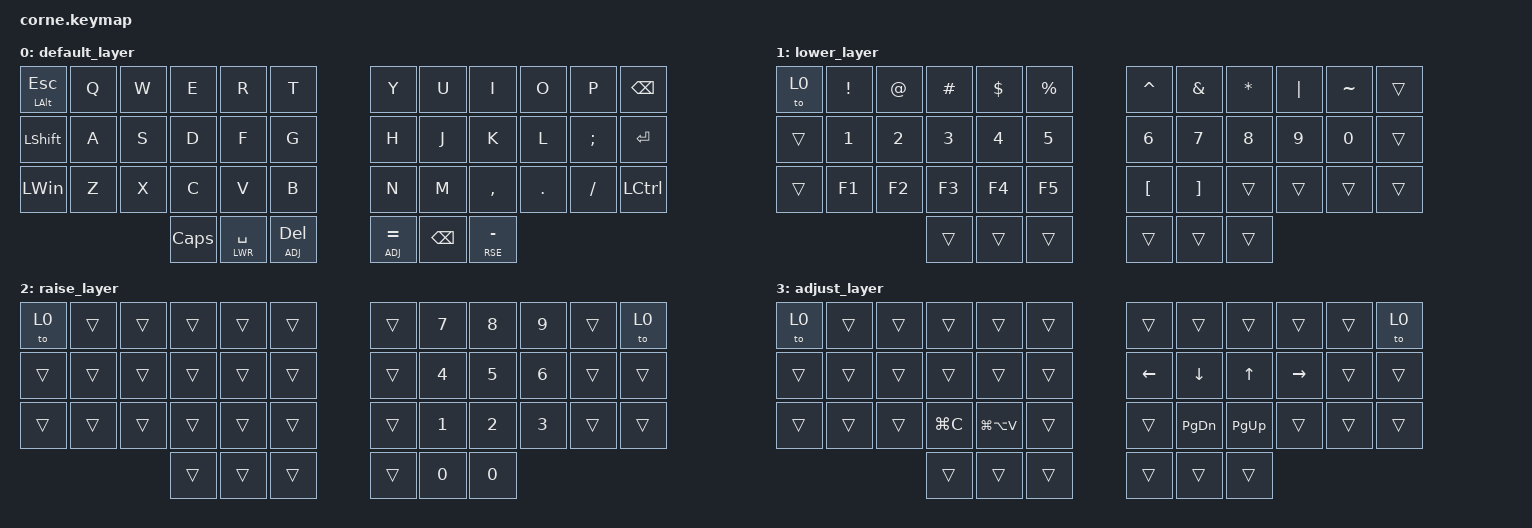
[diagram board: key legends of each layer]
/*
 * Copyright (c) 2020 The ZMK Contributors
 *
 * SPDX-License-Identifier: MIT
 */

#include <behaviors.dtsi>
#include <dt-bindings/zmk/keys.h>
#include <dt-bindings/zmk/bt.h>

#define DEF 0
#define LWR 1
#define RSE 2
#define ADJ 3


/ {
       macros {        
		ZMK_MACRO(macro_arrow,
			wait-ms = <30>;
			tap-ms = <40>;
			bindings = <&kp LPAR &kp RPAR &kp KP_EQUAL &kp GT>;
    			)

       };
    
	combos {
		compatible = "zmk,combos";	
		combo_btsel0 {
		    timeout-ms = <50>;
		    key-positions = <1 13 25>;
		    bindings = <&bt BT_SEL 0>;
		};
		combo_btsel1 {
		    timeout-ms = <50>;
		    key-positions = <2 14 26>;
		    bindings = <&bt BT_SEL 1>;
		};
		combo_btsel2 {
		    timeout-ms = <50>;
		    key-positions = <3 15 27>;
		    bindings = <&bt BT_SEL 2>;
		};
		combo_btclr {
		    timeout-ms = <50>;
		    key-positions = <5 17 29>;
		    bindings = <&bt BT_CLR>;
		};
		combo_adj {
		    timeout-ms = <50>;
		    key-positions = <10 22 34>;
		    bindings = <&to 2>;
		};		
		combo_rse {
		    timeout-ms = <50>;
		    key-positions = <11 23 35>;
		    bindings = <&to 3>;
		};	
		combo_tab {
		    timeout-ms = <50>;
		    key-positions = <0 1>;
		    bindings = <&kp TAB>;
		};	
		combo_grave {
		    timeout-ms = <50>;
		    key-positions = <1 2>;
		    bindings = <&kp GRAVE>;
		};			
		combo_lpar {
		    timeout-ms = <37>;
		    key-positions = <3 4>;
		    bindings = <&kp LPAR>;
		};
		combo_rpar {
		    timeout-ms = <50>;
		    key-positions = <4 5>;
		    bindings = <&kp RPAR>;
		};		
		combo_lbrc {
		    timeout-ms = <50>;
		    key-positions = <15 16>;
		    bindings = <&kp LBRC>;
		};	
		combo_rbrc {
		    timeout-ms = <50>;
		    key-positions = <16 17>;
		    bindings = <&kp RBRC>;
		};
		combo_arrow {
		    timeout-ms = <50>;
		    key-positions = <18 19>;
		    bindings = <&macro_arrow>;
		};
		combo_under {
		    timeout-ms = <50>;
		    key-positions = <19 20>;
		    bindings = <&kp UNDER>;
		};
		combo_ctrl_c {
		    timeout-ms = <50>;
		    key-positions = <25 26 27>;
		    bindings = <&kp LC(C)>;
		};
		combo_lbkt {
		    timeout-ms = <50>;
		    key-positions = <27 28>;
		    bindings = <&kp LBKT>;
		};
		combo_rbkt {
		    timeout-ms = <50>;
		    key-positions = <28 29>;
		    bindings = <&kp RBKT>;
		};		
		combo_plus {
		    timeout-ms = <50>;
		    key-positions = <30 31>;
		    bindings = <&kp KP_PLUS>;
		};					
		combo_dqt {
		    timeout-ms = <50>;
		    key-positions = <31 32>;
		    bindings = <&kp DQT>;
		};	
		combo_sqt {
		    timeout-ms = <50>;
		    key-positions = <32 33>;
		    bindings = <&kp SQT>;
		};	
		combo_bslh {
		    timeout-ms = <50>;
		    key-positions = <9 10 11>;
		    bindings = <&kp BSLH>;
		};
		combo_up {
		    timeout-ms = <37>;
		    key-positions = <22 23>;
		    bindings = <&kp UP>;
		};
		combo_down {
		    timeout-ms = <50>;
		    key-positions = <33 34 35>;
		    bindings = <&kp DOWN>;
		};
		combo_left {
		    timeout-ms = <50>;
		    key-positions = <33 34>;
		    bindings = <&kp LEFT>;
		};
		combo_right {
		    timeout-ms = <50>;
		    key-positions = <34 35>;
		    bindings = <&kp RIGHT>;
		};	
		combo_volup {
		    timeout-ms = <50>;
		    key-positions = <10 11>;
		    bindings = <&kp C_VOL_UP>;
		};
		combo_voldown {
		    timeout-ms = <50>;
		    key-positions = <9 10>;
		    bindings = <&kp C_VOL_DN>;
		};		
		combo_cmd_space {
		    timeout-ms = <50>;
		    key-positions = <36 37>;
		    bindings = <&kp LG(SPACE)>;
		};
	};
	
        
        keymap {
                compatible = "zmk,keymap";

                default_layer {
// ------------------------------------------------------------------------------------------------------------------------------------
//       | ALT/ESC |  Q  |  W  |  E  |  R  |  T  |                 |  Y  |  U   |  I  |  O  |  P  | BSPC  |
//       | SHIFT   |  A  |  S  |  D  |  F  |  G  |                 |  H  |  J   |  K  |  L  |  ;  | ENTER |
//       | CMD     |  Z  |  X  |  C  |  V  |  B  |                 |  N  |  M   |  ,  |  .  |  /  | CTRL  |
//                 |   CAPS  | LWR/SPC | ADJ/DEL |                 |    ADJ/=   |    BKSP   |    RSE/-    |
                        bindings = <
          &mt LALT ESC &kp Q &kp W &kp E &kp R &kp T                &kp Y &kp U  &kp I     &kp O   &kp P    &kp BSPC 
          &kp LSHFT    &kp A &kp S &kp D &kp F &kp G                &kp H &kp J  &kp K     &kp L   &kp SEMI &kp RET
          &kp LWIN     &kp Z &kp X &kp C &kp V &kp B                &kp N &kp M  &kp COMMA &kp DOT &kp FSLH &kp LCTRL
          &kp CAPS     &lt LWR SPACE     &lt ADJ DEL                &lt ADJ EQUAL          &kp BSPC     &lt RSE MINUS
                        >;
                };
                
                lower_layer {
// ------------------------------------------------------------------------------------------------------------------------------------
//       | DEF |  !  |  @  |  #  |  $  |  %  |                            |  ^  |  &  |  *  |  |  |  ~  |     |
//       |     |  1  |  2  |  3  |  4  |  5  |                            |  6  |  7  |  8  |  9  |  0  |     |
//       |     |  F1 |  F2 |  F3 |  F4 |  F5 |                            |  [  |  ]  |     |     |   	|     |
//                         |     |     |     |                            |     |     |     |
                        bindings = <
          &to 0  &kp EXCL &kp AT &kp HASH &kp DLLR &kp PRCNT              &kp CARET &kp AMPS &kp STAR &kp PIPE &kp TILDE &trans  
          &trans &kp N1   &kp N2 &kp N3   &kp N4   &kp N5                 &kp N6    &kp N7   &kp N8   &kp N9   &kp N0    &trans
          &trans &kp F1   &kp F2 &kp F3   &kp F4   &kp F5                 &kp LBKT  &kp RBKT &trans   &trans   &trans    &trans
          &trans &trans   &trans                                          &trans    &trans   &trans
                        >;
                };
                
                raise_layer {
// ------------------------------------------------------------------------------------------------------------------------------------
//       |  DEF |     |     |     |     |     |                       |     |  7  |  8  |  9  |     | DEF |
//       |      |     |     |     |     |     |                       |     |  4  |  5  |  6  |     |     |
//       |      |     |     |     |     |     |                       |     |  1  |  2  |  3  |     |     |
//                          |     |     |     |                       |     |  0  |  0  |
                        bindings = <
          &to 0  &trans &trans &trans &trans &trans                   &trans &kp N7 &kp N8 &kp N9 &trans &to 0 
          &trans &trans &trans &trans &trans &trans                   &trans &kp N4 &kp N5 &kp N6 &trans &trans
          &trans &trans &trans &trans &trans &trans                   &trans &kp N1 &kp N2 &kp N3 &trans &trans
          &trans &trans &trans                                        &trans &kp N0 &kp N0
                        >;
                };
		
                adjust_layer {
// ------------------------------------------------------------------------------------------------------------------------------------
//       | DEF |     |     |       |           |     |                   |      |       |       |       |     | DEF |
//       |     |     |     |       |           |     |                   | LEFT | DOWN  |   UP  | RIGHT |     |     |
//       |     |     |     | CMD+V | CMD+ALT+V |     |                   |      | PG_DN | PG_UP |       |     |     |
//                         |       |           |     |                   |      |       |       |
                        bindings = <
          &to 0  &trans &trans &trans    &trans        &trans             &trans   &trans    &trans    &trans    &trans &to 0  
          &trans &trans &trans &trans    &trans        &trans             &kp LEFT &kp DOWN  &kp UP    &kp RIGHT &trans &trans
          &trans &trans &trans &kp LG(C) &kp LG(LA(V)) &trans             &trans   &kp PG_DN &kp PG_UP &trans    &trans &trans
          &trans &trans &trans                                            &trans   &trans    &trans
                        >;
                };
	};
};
